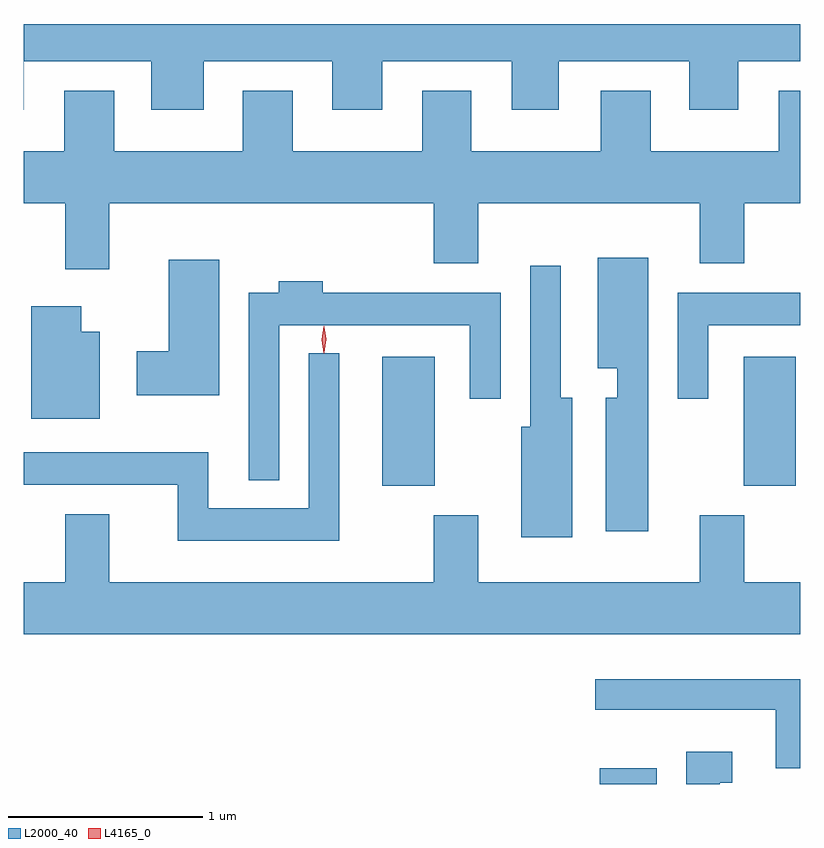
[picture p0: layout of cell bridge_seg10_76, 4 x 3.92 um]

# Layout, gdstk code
import gdstk
lib = gdstk.Library(unit=1e-6, precision=1e-09)
def R(c, l, rs):  # rectangles x0, y0, x1, y1
    for r in rs: c.add(gdstk.rectangle(r[:2], r[2:], *l))
def P(c, l, *ps):  # polygons
    for p in ps: c.add(gdstk.Polygon(p, *l))
L2000_40 = (2000, 40)
L4165_0 = (4165, 0)

bridge_seg10_76 = lib.new_cell('bridge_seg10_76')
R(bridge_seg10_76, L2000_40, [(1585.006,2170.864,1585.299,2170.944), (1583.886,2172.401,1584.154,2173.064), (1585.746,2172.401,1586.014,2173.064)])
P(bridge_seg10_76, L2000_40, [(1582.039,2174.586),(1582.696,2174.586),(1582.696,2174.336),(1582.964,2174.336),(1582.964,2174.586),(1583.626,2174.586),(1583.626,2174.336),(1583.884,2174.336),(1583.884,2174.586),(1584.551,2174.586),(1584.551,2174.336),(1584.794,2174.336),(1584.794,2174.586),(1585.466,2174.586),(1585.466,2174.336),(1585.719,2174.336),(1585.719,2174.586),(1586.038,2174.586),(1586.038,2174.779),(1582.038,2174.779),(1582.038,2174.336),(1582.039,2174.336)],
  [(1582.479,2173.856),(1584.151,2173.856),(1584.151,2173.546),(1584.379,2173.546),(1584.379,2173.856),(1585.521,2173.856),(1585.521,2173.546),(1585.749,2173.546),(1585.749,2173.856),(1586.038,2173.856),(1586.038,2174.434),(1585.926,2174.434),(1585.926,2174.124),(1585.269,2174.124),(1585.269,2174.434),(1585.011,2174.434),(1585.011,2174.124),(1584.344,2174.124),(1584.344,2174.434),(1584.091,2174.434),(1584.091,2174.124),(1583.424,2174.124),(1583.424,2174.434),(1583.166,2174.434),(1583.166,2174.124),(1582.504,2174.124),(1582.504,2174.434),(1582.246,2174.434),(1582.246,2174.124),(1582.038,2174.124),(1582.038,2173.856),(1582.251,2173.856),(1582.251,2173.516),(1582.479,2173.516)],
  [(1585.254,2173.574),(1584.996,2173.574),(1584.996,2173.006),(1585.096,2173.006),(1585.096,2172.854),(1585.036,2172.854),(1585.036,2172.166),(1585.254,2172.166)],
  [(1583.044,2173.564),(1582.786,2173.564),(1582.786,2173.094),(1582.621,2173.094),(1582.621,2172.866),(1583.044,2172.866)],
  [(1584.864,2172.854),(1584.804,2172.854),(1584.804,2173.533),(1584.646,2173.533),(1584.646,2172.704),(1584.601,2172.704),(1584.601,2172.136),(1584.864,2172.136)],
  [(1583.354,2173.226),(1584.336,2173.226),(1584.336,2172.848),(1584.494,2172.848),(1584.494,2173.394),(1583.579,2173.394),(1583.579,2173.454),(1583.351,2173.454),(1583.351,2173.394),(1583.196,2173.394),(1583.196,2172.428),(1583.354,2172.428)],
  [(1585.564,2173.226),(1586.038,2173.226),(1586.038,2173.394),(1585.406,2173.394),(1585.406,2172.848),(1585.564,2172.848)],
  [(1582.429,2173.194),(1582.334,2173.194),(1582.334,2173.324),(1582.076,2173.324),(1582.076,2172.746),(1582.429,2172.746)],
  [(1583.664,2173.083),(1583.506,2173.083),(1583.506,2172.284),(1582.989,2172.284),(1582.989,2172.574),(1582.038,2172.574),(1582.038,2172.406),(1582.831,2172.406),(1582.831,2172.116),(1583.664,2172.116)],
  [(1586.038,2171.904),(1585.749,2171.904),(1585.749,2172.249),(1585.521,2172.249),(1585.521,2171.904),(1584.379,2171.904),(1584.379,2172.249),(1584.151,2172.249),(1584.151,2171.904),(1582.479,2171.904),(1582.479,2172.254),(1582.251,2172.254),(1582.251,2171.904),(1582.038,2171.904),(1582.038,2171.636),(1586.038,2171.636)],
  [(1586.038,2171.404),(1584.983,2171.404),(1584.983,2171.246),(1585.911,2171.246),(1585.911,2170.946),(1586.038,2170.946)],
  [(1585.624,2170.871),(1585.688,2170.871),(1585.688,2171.029),(1585.451,2171.029),(1585.451,2170.864),(1585.624,2170.864)])
P(bridge_seg10_76, L4165_0, [(1583.584,2173.084),(1583.584,2173.084),(1583.574,2173.153),(1583.584,2173.222),(1583.584,2173.223),(1583.585,2173.222),(1583.594,2173.153),(1583.585,2173.084)],
  [(1583.587,2173.087),(1583.586,2173.088),(1583.577,2173.154),(1583.586,2173.22),(1583.587,2173.221),(1583.587,2173.22),(1583.597,2173.154),(1583.587,2173.088)])

lib.write_gds('bridge_seg10_76.gds')
